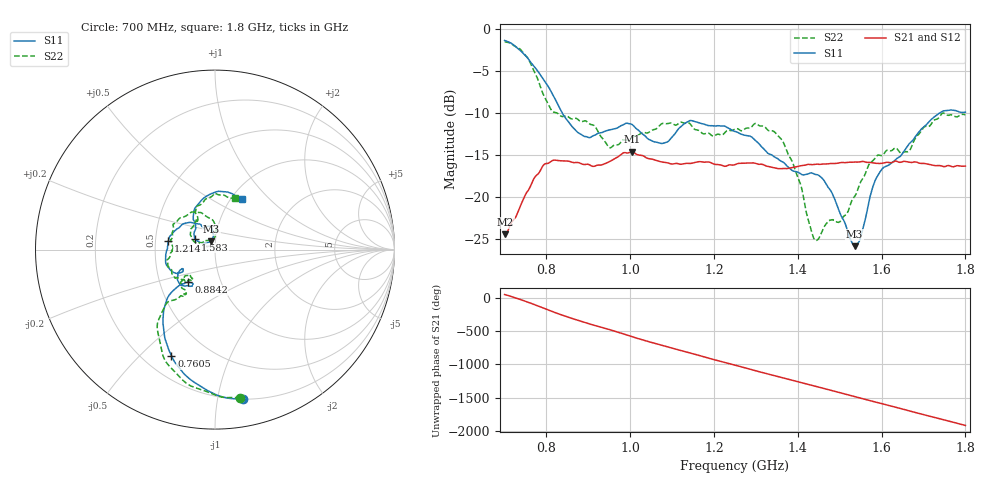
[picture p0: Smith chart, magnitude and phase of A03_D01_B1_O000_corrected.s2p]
! Created with skrf 1.9.0 (http://scikit-rf.org).
# Hz S RI R 50.0
!freq ReS11 ImS11 ReS21 ImS21 ReS12 ImS12 ReS22 ImS22
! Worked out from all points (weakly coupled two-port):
!   1601 points, 700 MHz to 1.8 GHz, reference 50 ohm
!   highest |S21| = -14.64 dB at 1.005 GHz (marker M1); lowest = -24.4 dB at 701.4 MHz (marker M2)
!   lowest |S11| = -25.8 dB at 1.535 GHz (marker M3), VSWR 1.11, Z = 47.7 + j4.44 ohm
!   |S11| at or under -10 dB: 837.4 MHz to 1.74 GHz (902.3 MHz wide, 70 % of centre)
!   |S22| runs from -25.2 to -1.5 dB; largest |S21 - S12| = 0.0037
!   S11 on the Smith chart (normalised r, x): 700 MHz: 0.20, -1.19; 760.5 MHz: 0.31, -0.62; 884.2 MHz: 0.70, -0.27; 1.214 GHz: 0.59, +0.06; 1.583 GHz: 0.80, +0.09; 1.8 GHz: 1.12, +0.70
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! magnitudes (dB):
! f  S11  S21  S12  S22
! 700 MHz  -1.4  -24.4  -24.2  -1.5
! 701.4 MHz  -1.4  -24.4  -24.1  -1.6
! 760.5 MHz  -3.9  -18.9  -18.7  -4.0
! 812.8 MHz  -7.7  -15.7  -15.7  -9.8
! 883.6 MHz  -12.6  -16.1  -16.0  -11.1
! 884.2 MHz  -12.6  -16.1  -16.0  -11.1
! 950.9 MHz  -12.0  -15.8  -15.8  -14.2
! 1.005 GHz  -11.4  -14.6  -14.8  -12.9
! 1.067 GHz  -13.6  -15.7  -15.7  -11.7
! 1.141 GHz  -10.9  -16.0  -16.0  -11.2
! 1.214 GHz  -11.6  -16.2  -16.2  -12.6
! 1.25 GHz  -12.2  -16.2  -16.1  -11.9
! 1.361 GHz  -15.8  -16.6  -16.7  -13.1
! 1.405 GHz  -17.2  -16.3  -16.3  -18.3
! 1.434 GHz  -17.1  -16.2  -16.1  -24.3
! 1.479 GHz  -19.3  -16.0  -16.0  -22.7
! 1.535 GHz  -25.8  -15.9  -15.9  -20.0
! 1.583 GHz  -18.2  -16.0  -16.0  -15.5
! 1.617 GHz  -16.2  -15.9  -15.9  -14.5
! 1.664 GHz  -13.8  -15.8  -15.8  -14.6
! 1.735 GHz  -10.2  -16.3  -16.3  -10.7
! 1.8 GHz  -9.9  -16.3  -16.3  -10.3
